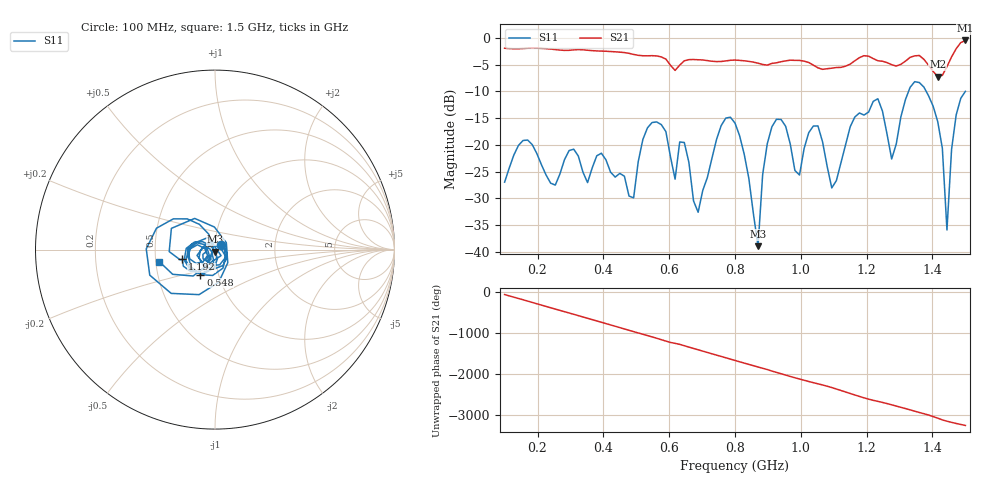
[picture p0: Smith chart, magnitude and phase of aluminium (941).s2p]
! NanoVNA-App
! Date: 2025-09-25 15:02:36
! Start: 100MHz Stop: 1,5GHz Points: 101
! S-Parameter data: F S11 S21 S12 S22
# Hz S RI R 50
!  Frequency  S11_Real  S11_Imag  S21_Real  S21_Imag  S12_Real  S12_Imag  S22_Real  S22_Imag
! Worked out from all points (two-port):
!   101 points, 100 MHz to 1.5 GHz, reference 50 ohm
!   highest |S21| = -0.47 dB at 1.5 GHz (marker M1); lowest = -7.2 dB at 1.416 GHz (marker M2)
!   |S21| within 3 dB of the highest: start of sweep to 570.2 MHz; 1.459 GHz to end of sweep (the widest 2 of 4)
!   lowest |S11| = -38.9 dB at 870 MHz (marker M3), VSWR 1.02, Z = 50.2 - j1.12 ohm
!   |S11| at or under -10 dB: start of sweep to 1.327 GHz; 1.381 GHz to 1.5 GHz (118.8 MHz wide, 8.25 % of centre)
!   S12 and S22 are empty: the file has one direction only
!   S11 on the Smith chart (normalised r, x): 100 MHz: 1.07, +0.06; 548 MHz: 0.82, -0.24; 1.192 GHz: 0.69, -0.08; 1.5 GHz: 0.52, -0.08
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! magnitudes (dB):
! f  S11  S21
! 100 MHz  -27.0  -1.9
! 156 MHz  -19.2  -2.0
! 338 MHz  -25.1  -2.2
! 492 MHz  -29.9  -3.1
! 548 MHz  -15.8  -3.3
! 576 MHz  -16.2  -3.5
! 646 MHz  -19.5  -4.3
! 688 MHz  -32.6  -4.1
! 800 MHz  -15.9  -4.1
! 870 MHz  -38.9  -4.7
! 912 MHz  -16.6  -4.8
! 996 MHz  -25.6  -4.2
! 1.038 GHz  -16.5  -5.1
! 1.094 GHz  -28.0  -5.6
! 1.192 GHz  -14.4  -3.3
! 1.234 GHz  -11.4  -4.3
! 1.276 GHz  -22.6  -5.0
! 1.346 GHz  -8.2  -3.3
! 1.416 GHz  -15.6  -7.2
! 1.444 GHz  -35.9  -5.4
! 1.458 GHz  -20.8  -3.5
! 1.5 GHz  -10.0  -0.5
